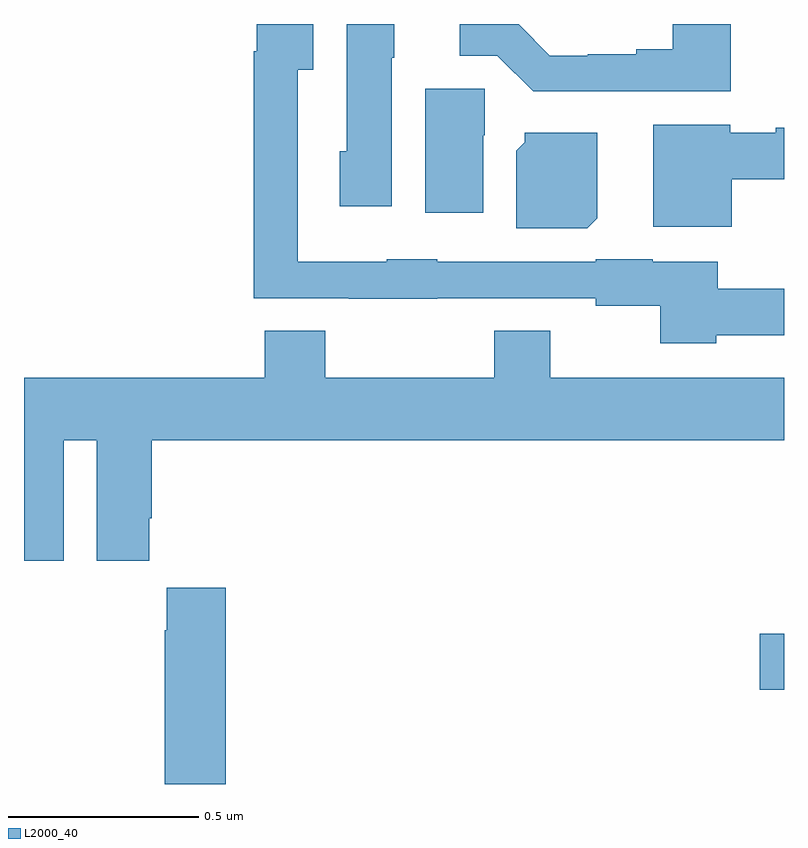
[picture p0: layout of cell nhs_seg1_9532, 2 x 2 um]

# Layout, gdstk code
import gdstk
lib = gdstk.Library(unit=1e-6, precision=1e-09)
def R(c, l, rs):  # rectangles x0, y0, x1, y1
    for r in rs: c.add(gdstk.rectangle(r[:2], r[2:], *l))
def P(c, l, *ps):  # polygons
    for p in ps: c.add(gdstk.Polygon(p, *l))
L2000_40 = (2000, 40)

nhs_seg1_9532 = lib.new_cell('nhs_seg1_9532')
R(nhs_seg1_9532, L2000_40, [(231.936,512.447,232,512.594)])
P(nhs_seg1_9532, L2000_40, [(231.86,514.199),(231.707,514.199),(231.707,514.132),(231.611,514.132),(231.611,514.119),(231.484,514.119),(231.484,514.116),(231.384,514.116),(231.302,514.199),(231.147,514.199),(231.147,514.116),(231.246,514.116),(231.34,514.022),(231.86,514.022)],
  [(231.822,513.38),(232,513.38),(232,513.502),(231.826,513.502),(231.826,513.574),(231.654,513.574),(231.654,513.58),(231.504,513.58),(231.504,513.573),(231.087,513.573),(231.087,513.58),(230.955,513.58),(230.955,513.574),(230.721,513.574),(230.721,514.079),(230.761,514.079),(230.761,514.199),(230.613,514.199),(230.613,514.127),(230.605,514.127),(230.605,513.477),(230.855,513.477),(230.855,513.476),(231.087,513.476),(231.087,513.477),(231.504,513.477),(231.504,513.458),(231.674,513.458),(231.674,513.359),(231.822,513.359)],
  [(230.968,514.11),(230.974,514.11),(230.974,514.199),(230.849,514.199),(230.849,513.864),(230.831,513.864),(230.831,513.72),(230.968,513.72)],
  [(231.208,513.906),(231.212,513.906),(231.212,514.029),(231.056,514.029),(231.056,513.702),(231.208,513.702)],
  [(231.862,513.791),(232,513.791),(232,513.926),(231.978,513.926),(231.978,513.913),(231.858,513.913),(231.858,513.934),(231.656,513.934),(231.656,513.665),(231.862,513.665)],
  [(231.508,513.688),(231.508,513.913),(231.318,513.913),(231.318,513.888),(231.296,513.866),(231.296,513.662),(231.482,513.662)],
  [(230.104,513.104),(230.192,513.104),(230.192,512.787),(230.329,512.787),(230.329,512.899),(230.336,512.899),(230.336,513.104),(232,513.104),(232,513.268),(231.385,513.268),(231.385,513.392),(231.238,513.392),(231.238,513.268),(230.793,513.268),(230.793,513.392),(230.633,513.392),(230.633,513.268),(230,513.268),(230,512.787),(230.104,512.787)],
  [(230.531,512.716),(230.375,512.716),(230.375,512.603),(230.371,512.603),(230.371,512.199),(230.531,512.199)])

lib.write_gds('nhs_seg1_9532.gds')
